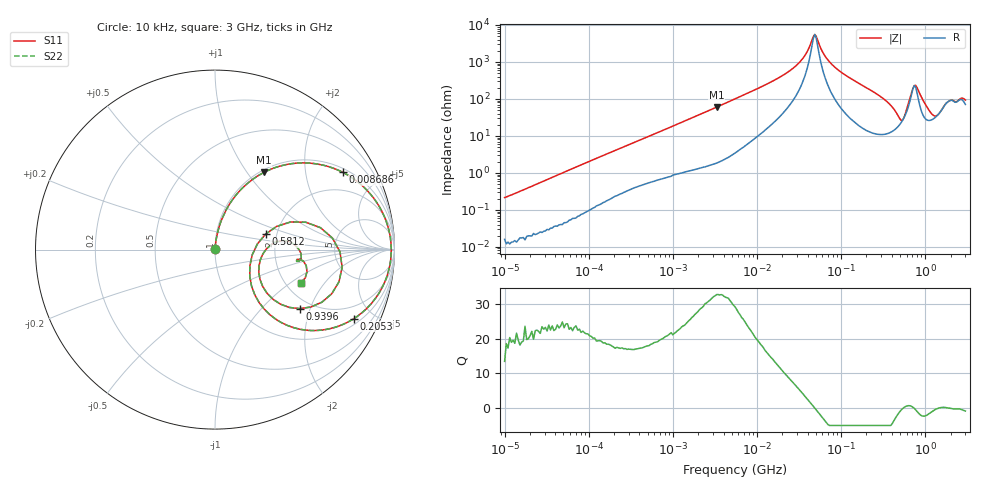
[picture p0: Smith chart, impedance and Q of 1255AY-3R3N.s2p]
!These Parameters are Measured in Series Mode Connection
! o--[Z]--o
!Port1 Port2
! o-------o
!FREQ S11 S21 S12 S22
# MHZ S RI R 50
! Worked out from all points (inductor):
!   300 points, 10 kHz to 3 GHz, reference 50 ohm
!   read as one part in series: L = 3.32 uH near 10.48 kHz
!   highest Q = 32.6 at 3.323 MHz (marker M1), where L = 2.88 uH
!   self-resonance near 48.57 MHz
!   S11 on the Smith chart (normalised r, x): 10 kHz: 1.00, +0.00; 8.686 MHz: 1.15, +3.21; 205.3 MHz: 1.27, -3.86; 581.2 MHz: 1.74, +0.33; 939.6 MHz: 1.73, -1.70; 3 GHz: 2.42, -1.20
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0.01  0.000164 0.00214  0.9998 -0.00214  0.9998 -0.00214  0.000164 0.00214
0.08501985  0.00107 0.0171  0.9989 -0.0171  0.9989 -0.0171  0.00107 0.0171
0.6899755  0.0223 0.1243  0.9777 -0.1243  0.9777 -0.1243  0.0223 0.1243
3.32329  0.2713 0.4296  0.7287 -0.4296  0.7287 -0.4296  0.2713 0.4296
5.592179  0.5085 0.4829  0.4915 -0.4829  0.4915 -0.4829  0.5085 0.4829
8.686058  0.7116 0.4307  0.2884 -0.4307  0.2884 -0.4307  0.7116 0.4307
26.64524  0.9598 0.1403  0.0402 -0.1403  0.0402 -0.1403  0.9598 0.1403
36.70325  0.9773 0.0643  0.0227 -0.0643  0.0227 -0.0643  0.9773 0.0643
44.83659  0.9815 0.0185  0.0185 -0.0185  0.0185 -0.0185  0.9815 0.0185
48.57399  0.9822 0.000452  0.0178 -0.000452  0.0178 -0.000452  0.9822 0.000452
61.76144  0.9792 -0.0549  0.0208 0.0549  0.0208 0.0549  0.9792 -0.0549
78.52918  0.9684 -0.1127  0.0316 0.1127  0.0316 0.1127  0.9684 -0.1127
205.2512  0.7734 -0.3848  0.2266 0.3848  0.2266 0.3848  0.7734 -0.3848
374.1707  0.3709 -0.4074  0.6291 0.4074  0.6291 0.4074  0.3709 -0.4074
515.4121  0.1942 -0.0903  0.8058 0.0903  0.8058 0.0903  0.1942 -0.0903
581.181  0.2817 0.0863  0.7183 -0.0863  0.7183 -0.0863  0.2817 0.0863
655.3423  0.5053 0.1525  0.4947 -0.1525  0.4947 -0.1525  0.5053 0.1525
738.967  0.6965 -0.0132  0.3035 0.0132  0.3035 0.0132  0.6965 -0.0132
939.5906  0.4719 -0.3289  0.5281 0.3289  0.5281 0.3289  0.4719 -0.3289
1347.129  0.253 -0.0553  0.747 0.0553  0.747 0.0553  0.253 -0.0553
1712.864  0.4093 0.0468  0.5907 -0.0468  0.5907 -0.0468  0.4093 0.0468
3000  0.4791 -0.1836  0.5209 0.1836  0.5209 0.1836  0.4791 -0.1836
